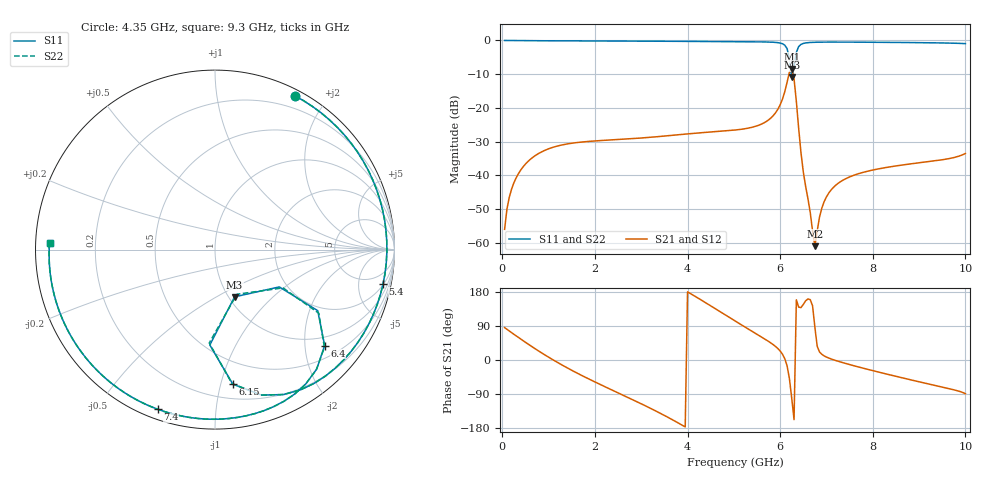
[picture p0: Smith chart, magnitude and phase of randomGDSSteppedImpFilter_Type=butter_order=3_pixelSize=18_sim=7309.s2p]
! freq	dB(S11)	phase(S11)	dB(S12)	phase(S12)
!  dB(S21)	phase(S21)	dB(S22)	phase(S22)
!S-par simulation data
#  GHz  S  DB  R 50
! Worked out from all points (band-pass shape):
!   200 points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, 50 MHz to 10 GHz, reference 50 ohm
!   highest |S21| = -8.43 dB at 6.25 GHz (marker M1); lowest = -61.0 dB at 6.75 GHz (marker M2)
!   |S21| within 3 dB of the highest: 6.166 GHz to 6.3 GHz (134.6 MHz wide, 2.16 % of centre)
!   lowest |S11| = -10.9 dB at 6.25 GHz (marker M3), VSWR 1.80, Z = 53.2 - j30.5 ohm
!   |S11| at or under -10 dB: 6.241699 GHz to 6.263876 GHz (22.18 MHz wide, 0.355 % of centre)
!   |S22| runs from -11.1 to 0.0 dB; largest |S21 - S12| = 0
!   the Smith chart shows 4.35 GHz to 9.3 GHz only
!   S11 on the Smith chart (normalised r, x): 4.35 GHz: 0.06, +1.64; 5.4 GHz: 2.15, -9.47; 6.15 GHz: 0.31, -1.09; 6.4 GHz: 0.78, -2.45; 7.4 GHz: 0.04, -0.70; 9.3 GHz: 0.04, +0.02
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0.05  -0.00 -4.4  -55.99 85.4  -55.99 85.4  -0.00 -4.4
0.2  -0.02 -17.6  -44.09 72.2  -44.09 72.2  -0.02 -17.6
0.5  -0.06 -43.2  -36.65 46.7  -36.65 46.7  -0.06 -43.2
1.1  -0.11 -90.5  -31.65 0.1  -31.65 0.1  -0.11 -90.5
1.75  -0.14 -134.9  -30.06 -42.9  -30.06 -42.9  -0.14 -134.9
2.55  -0.18 176.4  -29.33 -89.5  -29.33 -89.5  -0.18 176.4
3.4  -0.23 125.3  -28.47 -139.9  -28.47 -139.9  -0.23 125.3
4.35  -0.30 62.7  -27.30 154.2  -27.30 154.2  -0.30 62.6
5.05  -0.36 13.3  -26.52 101.3  -26.52 101.3  -0.36 13.2
5.4  -0.39 -11.5  -25.72 75.4  -25.72 75.4  -0.39 -11.5
5.9  -0.58 -48.8  -21.45 35.7  -21.45 35.7  -0.58 -48.9
6.15  -2.43 -82.4  -12.37 -15.6  -12.37 -15.6  -2.47 -82.8
6.25  -10.90 -67.5  -8.43 -100.8  -8.43 -100.8  -11.15 -63.9
6.3  -7.65 -30.1  -11.38 -157.4  -11.38 -157.4  -7.23 -29.4
6.4  -1.81 -41.2  -26.11 139.5  -26.11 139.5  -1.75 -41.8
6.7  -0.56 -72.9  -56.50 143.0  -56.50 143.0  -0.56 -73.1
6.75  -0.54 -76.2  -60.98 86.4  -60.98 86.4  -0.53 -76.4
6.95  -0.49 -87.9  -47.79 10.8  -47.79 10.8  -0.49 -87.9
7.4  -0.49 -109.7  -41.09 -8.7  -41.09 -8.7  -0.49 -109.7
8.35  -0.57 -147.8  -37.52 -38.7  -37.52 -38.7  -0.57 -147.8
9.3  -0.70 177.7  -35.75 -65.9  -35.75 -65.9  -0.70 177.7
10  -0.95 148.7  -33.51 -88.9  -33.51 -88.9  -0.95 148.7
